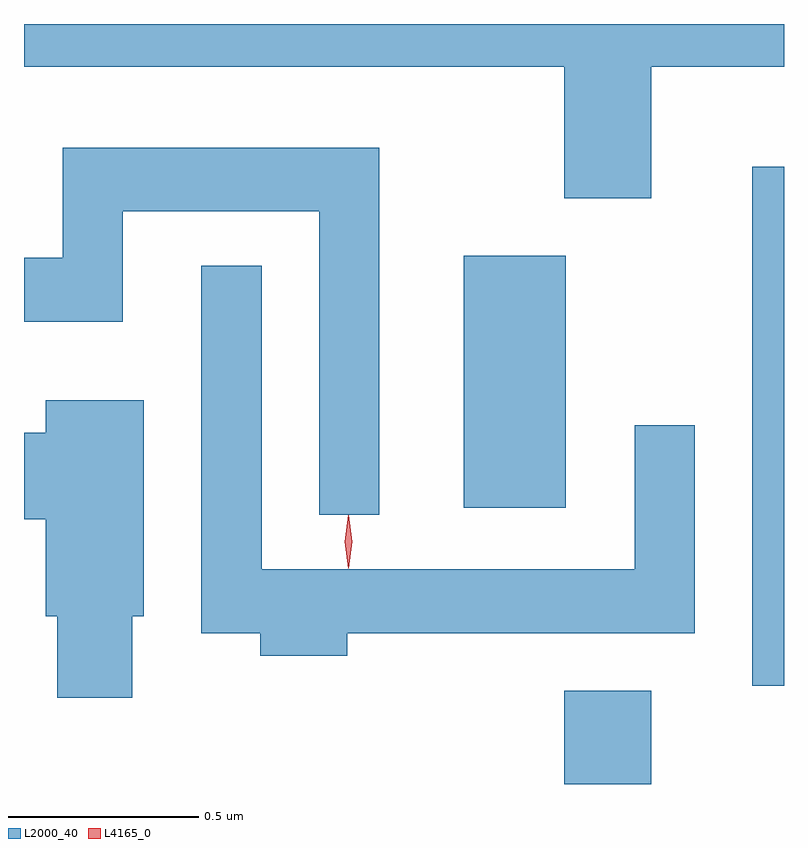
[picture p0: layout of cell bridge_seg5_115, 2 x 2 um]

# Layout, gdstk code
import gdstk
lib = gdstk.Library(unit=1e-6, precision=1e-09)
def R(c, l, rs):  # rectangles x0, y0, x1, y1
    for r in rs: c.add(gdstk.rectangle(r[:2], r[2:], *l))
def P(c, l, *ps):  # polygons
    for p in ps: c.add(gdstk.Polygon(p, *l))
L2000_40 = (2000, 40)
L4165_0 = (4165, 0)

bridge_seg5_115 = lib.new_cell('bridge_seg5_115')
R(bridge_seg5_115, L2000_40, [(1154.581,1512.629,1154.809,1512.874), (1155.076,1512.888,1155.159,1514.254), (1154.316,1513.356,1154.584,1514.019)])
P(bridge_seg5_115, L2000_40, [(1154.809,1514.516),(1155.159,1514.516),(1155.159,1514.629),(1153.159,1514.629),(1153.159,1514.516),(1154.581,1514.516),(1154.581,1514.171),(1154.809,1514.171)],
  [(1154.094,1514.304),(1153.261,1514.304),(1153.261,1514.014),(1153.159,1514.014),(1153.159,1513.846),(1153.419,1513.846),(1153.419,1514.136),(1153.936,1514.136),(1153.936,1513.338),(1154.094,1513.338)],
  [(1154.009,1513.026),(1154.924,1513.026),(1154.924,1513.573),(1154.766,1513.573),(1154.766,1513.194),(1153.784,1513.194),(1153.784,1513.993),(1153.626,1513.993),(1153.626,1513.026),(1153.781,1513.026),(1153.781,1512.966),(1154.009,1512.966)],
  [(1153.444,1513.071),(1153.474,1513.071),(1153.474,1513.639),(1153.216,1513.639),(1153.216,1513.554),(1153.159,1513.554),(1153.159,1513.326),(1153.216,1513.326),(1153.216,1513.071),(1153.246,1513.071),(1153.246,1512.856),(1153.444,1512.856)])
P(bridge_seg5_115, L4165_0, [(1154.012,1513.197),(1154.003,1513.267),(1154.012,1513.336),(1154.013,1513.336),(1154.013,1513.336),(1154.023,1513.267),(1154.013,1513.197),(1154.013,1513.197)])

lib.write_gds('bridge_seg5_115.gds')
